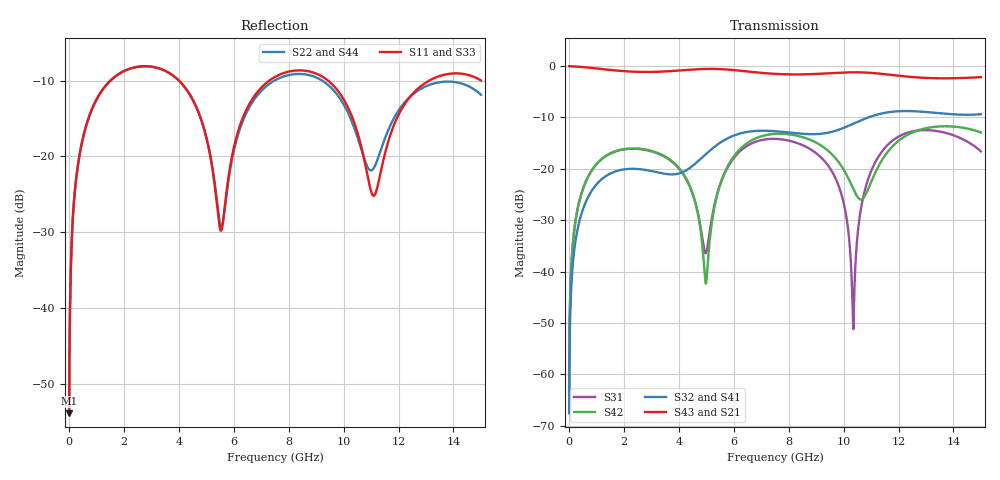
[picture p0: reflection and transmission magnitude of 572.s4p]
! Created with skrf 1.8.0 (http://scikit-rf.org).
# GHz S RI R 50.0
!freq ReS11 ImS11 ReS12 ImS12 ReS13 ImS13
! ReS14 ImS14
! ReS21 ImS21 ReS22 ImS22 ReS23 ImS23
! ReS24 ImS24
! ReS31 ImS31 ReS32 ImS32 ReS33 ImS33
! ReS34 ImS34
! ReS41 ImS41 ReS42 ImS42 ReS43 ImS43
! ReS44 ImS44
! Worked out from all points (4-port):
!   2499 points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, 5 MHz to 15 GHz, reference 50 ohm
!   strongest paths, dB at 5 MHz, 3.476 GHz, 7.19 GHz, 11.1 GHz, 15 GHz:
!     S43: 0.0, -1.0, -1.4, -1.4, -2.2
!     S21: 0.0, -1.0, -1.4, -1.4, -2.2
!     S32: -67.6, -21.0, -12.6, -9.6, -9.4
!     S41: -67.6, -21.0, -12.6, -9.6, -9.5
!     S42: -63.6, -17.5, -13.4, -21.4, -12.9
!     S31: -63.6, -17.6, -14.2, -19.3, -16.6
!   lowest |S11| = -53.8 dB at 5 MHz (marker M1), VSWR 1.00, Z = 50.2 + j0.123 ohm
!   |S11| at or under -10 dB: start of sweep to 1.511 GHz; 4.002 GHz to 7.298 GHz (3.296 GHz wide, 58.3 % of centre); 9.431 GHz to 13.12 GHz (3.692 GHz wide, 32.7 % of centre)
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0.005  0.00162 0.00123  0.9983 -0.00315  8.17e-05 0.000656  -7.93e-05 -0.000409
       0.9983 -0.00315  0.00162 0.00123  -7.93e-05 -0.000409  8.18e-05 0.000656
       8.17e-05 0.000656  -7.93e-05 -0.000409  0.00162 0.00123  0.9983 -0.00315
       -7.93e-05 -0.000409  8.18e-05 0.000656  0.9983 -0.00315  0.00162 0.00123
1.519383  0.2602 0.1815  0.571 -0.7165  0.1248 0.0666  -0.0896 -0.00994
          0.571 -0.7165  0.2595 0.182  -0.0897 -0.00977  0.1268 0.0641
          0.1248 0.0666  -0.0897 -0.00977  0.2602 0.1816  0.571 -0.7165
          -0.0896 -0.00994  0.1268 0.0641  0.571 -0.7165  0.2596 0.1819
4.983326  0.0677 -0.1192  -0.8638 -0.3671  -0.0148 -0.00295  -0.0519 0.129
          -0.8638 -0.3671  0.0705 -0.1191  -0.0494 0.13  -0.00752 -0.00131
          -0.0148 -0.00295  -0.0494 0.13  0.0686 -0.1197  -0.8635 -0.3674
          -0.0519 0.129  -0.00752 -0.00131  -0.8635 -0.3674  0.0704 -0.12
8.666111  0.3599 -0.063  0.0294 0.8311  0.1531 -0.053  0.2032 -0.0726
          0.0294 0.8311  0.3433 -0.04  0.2029 -0.0795  0.1541 -0.1226
          0.1531 -0.053  0.2029 -0.0795  0.357 -0.0622  0.0298 0.8318
          0.2032 -0.0726  0.1541 -0.1226  0.0298 0.8318  0.3428 -0.0416
10.34806  0.1085 -0.1371  0.7167 0.4939  -0.00244 -0.00128  0.1522 -0.228
          0.7167 0.4939  0.1225 -0.1048  0.1436 -0.2338  -0.0452 -0.0458
          -0.00244 -0.00128  0.1436 -0.2338  0.1077 -0.1361  0.7174 0.4933
          0.1522 -0.228  -0.0452 -0.0458  0.7174 0.4933  0.1209 -0.1047
11.51105  0.0822 0.0657  0.8307 -0.0717  0.0734 0.1428  -0.0493 -0.3469
          0.8307 -0.0717  0.1117 0.0707  -0.0614 -0.3457  0.0497 0.1256
          0.0734 0.1428  -0.0614 -0.3457  0.0799 0.0633  0.8307 -0.0722
          -0.0493 -0.3469  0.0497 0.1256  0.8307 -0.0722  0.1131 0.0715
15  0.2742 -0.1589  -0.2485 -0.7367  0.1241 -0.0804  -0.2981 0.1533
    -0.2485 -0.7367  0.2311 -0.1078  -0.2926 0.1738  0.0803 -0.2106
    0.1241 -0.0804  -0.2926 0.1738  0.2648 -0.1477  -0.2527 -0.7382
    -0.2981 0.1533  0.0803 -0.2106  -0.2527 -0.7382  0.2218 -0.1179
